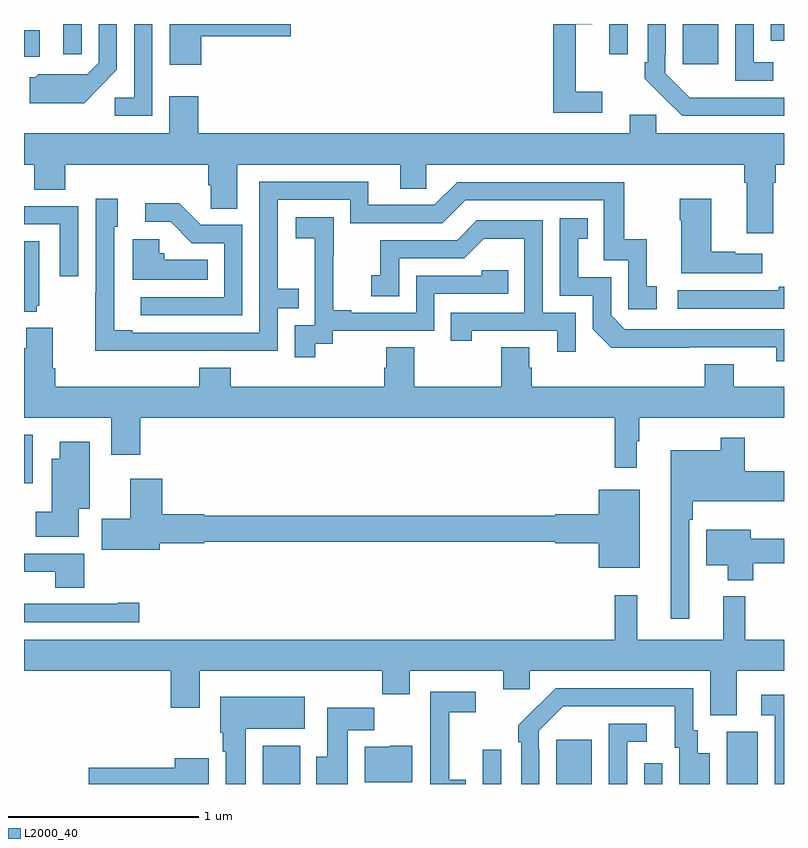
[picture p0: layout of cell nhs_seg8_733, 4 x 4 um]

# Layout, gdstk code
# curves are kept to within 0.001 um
import gdstk
lib = gdstk.Library(unit=1e-6, precision=1e-09)
def R(c, l, rs):  # rectangles x0, y0, x1, y1
    for r in rs: c.add(gdstk.rectangle(r[:2], r[2:], *l))
def P(c, l, *ps):  # polygons
    for p in ps: c.add(gdstk.Polygon(p, *l))
L2000_40 = (2000, 40)

nhs_seg8_733 = lib.new_cell('nhs_seg8_733')
R(nhs_seg8_733, L2000_40, [(160.256,1119.9,160.453,1120.102), (161.415,1119.9,161.511,1120.081), (161.801,1119.9,161.989,1120.132), (162.264,1119.9,162.36,1120.009), (162.698,1119.9,162.862,1120.176), (159,1121.483,159.046,1121.737), (162.467,1123.689,162.655,1123.9), (159,1123.728,159.082,1123.868), (159.207,1123.74,159.303,1123.9), (162.081,1123.74,162.177,1123.9), (162.93,1123.812,163,1123.9)])
P(nhs_seg8_733, L2000_40, [(159.934,1123.835),(160.405,1123.835),(160.405,1123.9),(159.767,1123.9),(159.767,1123.686),(159.934,1123.686)],
  [(162.043,1123.543),(161.903,1123.543),(161.903,1123.898),(161.992,1123.898),(161.992,1123.9),(161.785,1123.9),(161.785,1123.434),(162.043,1123.434)],
  [(159.675,1123.9),(159.579,1123.9),(159.579,1123.512),(159.477,1123.512),(159.477,1123.416),(159.675,1123.416)],
  [(159.397,1123.565),(159.489,1123.658),(159.489,1123.9),(159.393,1123.9),(159.393,1123.695),(159.333,1123.635),(159.076,1123.636),(159.06,1123.62),(159.029,1123.62),(159.029,1123.484),(159.317,1123.484)],
  [(163,1123.512),(162.504,1123.513),(162.375,1123.641),(162.375,1123.741),(162.378,1123.741),(162.378,1123.9),(162.282,1123.9),(162.282,1123.699),(162.267,1123.699),(162.267,1123.611),(162.464,1123.416),(163,1123.416)],
  [(162.943,1123.698),(162.84,1123.698),(162.84,1123.9),(162.744,1123.9),(162.744,1123.602),(162.943,1123.602)],
  [(159.917,1123.519),(159.764,1123.519),(159.764,1123.324),(159,1123.324),(159,1123.16),(159.053,1123.16),(159.053,1123.027),(159.218,1123.027),(159.218,1123.16),(159.971,1123.16),(159.971,1123.051),(159.984,1123.051),(159.984,1122.928),(160.123,1122.928),(160.123,1123.16),(160.979,1123.16),(160.979,1123.033),(161.118,1123.033),(161.118,1123.16),(162.791,1123.16),(162.791,1123.064),(162.803,1123.064),(162.803,1122.798),(162.943,1122.798),(162.943,1123.064),(162.956,1123.064),(162.956,1123.16),(163,1123.16),(163,1123.324),(162.327,1123.324),(162.327,1123.422),(162.188,1123.422),(162.188,1123.324),(159.917,1123.324)],
  [(159.839,1122.18),(160.335,1122.18),(160.335,1122.405),(160.445,1122.405),(160.445,1122.506),(160.335,1122.506),(160.335,1122.975),(160.716,1122.975),(160.716,1122.852),(161.202,1122.852),(161.322,1122.972),(162.051,1122.972),(162.051,1122.657),(162.18,1122.657),(162.18,1122.399),(162.331,1122.399),(162.331,1122.519),(162.278,1122.519),(162.278,1122.766),(162.16,1122.766),(162.16,1123.068),(161.28,1123.068),(161.16,1122.948),(160.813,1122.948),(160.813,1123.071),(160.239,1123.071),(160.239,1122.276),(159.571,1122.276),(159.571,1122.289),(159.474,1122.289),(159.474,1122.834),(159.493,1122.834),(159.493,1122.979),(159.378,1122.979),(159.378,1122.485),(159.376,1122.485),(159.376,1122.179)],
  [(162.886,1122.691),(162.743,1122.691),(162.743,1122.701),(162.616,1122.701),(162.616,1122.979),(162.451,1122.979),(162.451,1122.866),(162.458,1122.866),(162.458,1122.587),(162.886,1122.587)],
  [(160.149,1122.843),(159.93,1122.843),(159.817,1122.956),(159.639,1122.956),(159.639,1122.858),(159.773,1122.858),(159.884,1122.747),(160.053,1122.747),(160.053,1122.462),(159.615,1122.462),(159.615,1122.366),(160.149,1122.366)],
  [(159.285,1122.942),(159,1122.942),(159,1122.846),(159.189,1122.846),(159.189,1122.573),(159.285,1122.573)],
  [(160.534,1122.217),(160.626,1122.217),(160.626,1122.285),(161.16,1122.285),(161.16,1122.48),(161.549,1122.48),(161.549,1122.603),(161.409,1122.603),(161.409,1122.576),(161.064,1122.576),(161.064,1122.381),(160.723,1122.381),(160.723,1122.394),(160.628,1122.394),(160.628,1122.677),(160.629,1122.677),(160.629,1122.883),(160.431,1122.883),(160.431,1122.773),(160.529,1122.773),(160.529,1122.545),(160.53,1122.545),(160.53,1122.315),(160.425,1122.315),(160.425,1122.147),(160.534,1122.147)],
  [(163,1122.294),(162.162,1122.294),(162.09,1122.366),(162.09,1122.567),(161.917,1122.567),(161.917,1122.771),(161.966,1122.771),(161.966,1122.877),(161.82,1122.877),(161.82,1122.471),(161.994,1122.471),(161.994,1122.294),(162.092,1122.197),(162.96,1122.198),(162.96,1122.125),(163,1122.125)],
  [(161.904,1122.381),(161.73,1122.381),(161.73,1122.867),(161.384,1122.867),(161.279,1122.762),(160.876,1122.762),(160.876,1122.577),(160.827,1122.577),(160.827,1122.468),(160.974,1122.468),(160.974,1122.666),(161.316,1122.666),(161.42,1122.77),(161.634,1122.77),(161.634,1122.381),(161.245,1122.381),(161.245,1122.234),(161.356,1122.234),(161.356,1122.285),(161.807,1122.285),(161.807,1122.174),(161.904,1122.174)],
  [(159.968,1122.658),(159.738,1122.658),(159.738,1122.693),(159.711,1122.693),(159.711,1122.766),(159.572,1122.766),(159.572,1122.554),(159.968,1122.554)],
  [(159.068,1122.417),(159.079,1122.417),(159.079,1122.757),(159,1122.757),(159,1122.386),(159.068,1122.386)],
  [(163,1122.518),(162.973,1122.518),(162.973,1122.498),(162.441,1122.498),(162.441,1122.402),(163,1122.402)],
  [(159.923,1122.091),(159.923,1121.992),(159.164,1121.992),(159.164,1122.088),(159.151,1122.088),(159.151,1122.301),(159.011,1122.301),(159.011,1122.194),(159,1122.194),(159,1121.828),(159.458,1121.828),(159.458,1121.634),(159.611,1121.634),(159.611,1121.828),(162.109,1121.828),(162.109,1121.565),(162.226,1121.565),(162.226,1121.705),(162.238,1121.705),(162.238,1121.828),(163,1121.828),(163,1121.992),(162.736,1121.992),(162.736,1122.109),(162.584,1122.109),(162.584,1121.992),(161.672,1121.992),(161.672,1122.09),(161.659,1122.09),(161.659,1122.2),(161.512,1122.2),(161.512,1121.992),(161.055,1121.992),(161.055,1122.2),(160.907,1122.2),(160.907,1122.09),(160.895,1122.09),(160.895,1121.992),(160.088,1121.992),(160.088,1122.091)],
  [(162.501,1121.291),(162.521,1121.291),(162.521,1121.387),(163,1121.387),(163,1121.545),(162.794,1121.545),(162.794,1121.722),(162.666,1121.722),(162.666,1121.656),(162.404,1121.656),(162.404,1120.77),(162.501,1120.77)],
  [(159.289,1121.348),(159.346,1121.348),(159.346,1121.701),(159.188,1121.701),(159.188,1121.611),(159.146,1121.611),(159.146,1121.332),(159.062,1121.332),(159.062,1121.201),(159.289,1121.201)],
  [(162.241,1121.449),(162.026,1121.449),(162.026,1121.32),(161.796,1121.32),(161.796,1121.312),(159.948,1121.312),(159.948,1121.32),(159.728,1121.32),(159.728,1121.506),(159.56,1121.506),(159.56,1121.295),(159.408,1121.295),(159.408,1121.132),(159.715,1121.132),(159.715,1121.168),(159.948,1121.168),(159.948,1121.176),(161.796,1121.176),(161.796,1121.168),(162.026,1121.168),(162.026,1121.039),(162.241,1121.039)],
  [(162.839,1121.062),(163,1121.062),(163,1121.191),(162.826,1121.191),(162.826,1121.239),(162.59,1121.239),(162.59,1121.051),(162.704,1121.051),(162.704,1120.973),(162.839,1120.973)],
  [(159.317,1121.112),(159,1121.112),(159,1121.016),(159.164,1121.016),(159.164,1120.933),(159.317,1120.933)],
  [(159,1120.496),(159.773,1120.496),(159.773,1120.302),(159.925,1120.302),(159.925,1120.496),(160.885,1120.496),(160.885,1120.372),(161.029,1120.372),(161.029,1120.496),(161.522,1120.496),(161.522,1120.398),(161.661,1120.398),(161.661,1120.496),(162.611,1120.496),(162.611,1120.261),(162.751,1120.261),(162.751,1120.496),(163,1120.496),(163,1120.66),(162.797,1120.66),(162.797,1120.888),(162.68,1120.888),(162.68,1120.66),(162.227,1120.66),(162.227,1120.894),(162.109,1120.894),(162.109,1120.66),(159,1120.66)],
  [(159.607,1120.853),(159.494,1120.853),(159.494,1120.848),(159,1120.848),(159,1120.752),(159.607,1120.752)],
  [(161.712,1120.079),(161.709,1120.079),(161.709,1120.179),(161.838,1120.308),(162.425,1120.308),(162.425,1120.092),(162.449,1120.092),(162.449,1119.9),(162.61,1119.9),(162.61,1120.063),(162.547,1120.063),(162.547,1120.182),(162.522,1120.182),(162.522,1120.404),(161.798,1120.404),(161.601,1120.209),(161.601,1120.121),(161.616,1120.121),(161.616,1119.9),(161.712,1119.9)],
  [(161.326,1119.922),(161.237,1119.922),(161.237,1120.278),(161.377,1120.278),(161.377,1120.386),(161.139,1120.386),(161.139,1119.9),(161.326,1119.9)],
  [(163,1120.369),(162.879,1120.369),(162.879,1120.263),(162.951,1120.263),(162.951,1119.9),(163,1119.9)],
  [(160.168,1120.19),(160.477,1120.19),(160.477,1120.36),(160.034,1120.36),(160.034,1120.17),(160.046,1120.17),(160.046,1120.07),(160.061,1120.07),(160.061,1119.9),(160.168,1119.9)],
  [(160.705,1120.184),(160.844,1120.184),(160.844,1120.302),(160.595,1120.302),(160.595,1120.044),(160.538,1120.044),(160.538,1119.9),(160.705,1119.9)],
  [(162.174,1120.122),(162.277,1120.122),(162.277,1120.218),(162.078,1120.218),(162.078,1119.9),(162.174,1119.9)],
  [(161.044,1120.102),(160.926,1120.102),(160.926,1120.096),(160.793,1120.096),(160.793,1119.908),(161.044,1119.908)],
  [(159.973,1120.036),(159.794,1120.036),(159.794,1119.986),(159.342,1119.986),(159.342,1119.9),(159.973,1119.9)])

lib.write_gds('nhs_seg8_733.gds')
